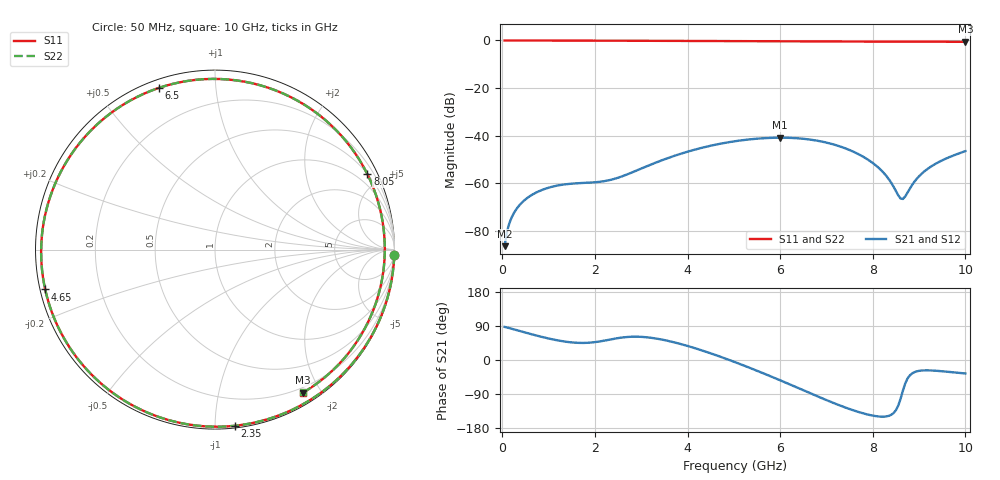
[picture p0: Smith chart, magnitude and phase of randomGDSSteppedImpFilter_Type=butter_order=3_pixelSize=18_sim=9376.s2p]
! freq	dB(S11)	phase(S11)	dB(S12)	phase(S12)
!  dB(S21)	phase(S21)	dB(S22)	phase(S22)
!S-par simulation data
#  GHz  S  DB  R 50
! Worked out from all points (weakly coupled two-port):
!   200 points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, 50 MHz to 10 GHz, reference 50 ohm
!   highest |S21| = -40.82 dB at 6 GHz (marker M1); lowest = -86.4 dB at 50 MHz (marker M2)
!   lowest |S11| = -0.6 dB at 10 GHz (marker M3), VSWR 29.97, Z = 6.98 - j89 ohm
!   |S11| at or under -10 dB: nowhere
!   |S22| runs from -0.6 to 0.0 dB; largest |S21 - S12| = 0
!   S11 on the Smith chart (normalised r, x): 50 MHz: 1, -62; 2.35 GHz: 0.01, -1.12; 4.65 GHz: 0.01, -0.12; 6.5 GHz: 0.04, +0.71; 8.05 GHz: 0.51, +4.21; 10 GHz: 0.14, -1.78
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0.05  -0.01 -1.8  -86.36 87.2  -86.36 87.2  -0.01 -1.8
0.1  -0.01 -3.7  -80.35 85.9  -80.35 85.9  -0.01 -3.7
0.2  -0.01 -7.3  -74.38 82.6  -74.38 82.6  -0.01 -7.3
0.35  -0.02 -12.7  -69.64 77.5  -69.64 77.5  -0.02 -12.7
0.65  -0.03 -23.5  -64.70 67.3  -64.70 67.3  -0.03 -23.5
1.1  -0.05 -39.6  -61.29 54.1  -61.29 54.1  -0.05 -39.6
1.75  -0.08 -62.6  -59.82 45.0  -59.82 45.0  -0.08 -62.6
2.35  -0.11 -83.5  -58.47 54.5  -58.47 54.5  -0.11 -83.5
3.4  -0.16 -120.4  -50.64 55.0  -50.64 55.0  -0.16 -120.3
4.65  -0.25 -166.8  -43.57 11.2  -43.57 11.2  -0.25 -166.8
5.05  -0.28 177.0  -42.23 -6.8  -42.23 -6.8  -0.28 177.0
5.55  -0.33 155.3  -41.16 -30.8  -41.16 -30.8  -0.33 155.4
6  -0.37 134.3  -40.82 -53.5  -40.82 -53.5  -0.37 134.4
6.5  -0.41 109.2  -41.27 -79.7  -41.27 -79.7  -0.41 109.4
6.7  -0.43 98.8  -41.76 -90.3  -41.76 -90.3  -0.43 98.9
7.35  -0.46 63.8  -44.88 -122.8  -44.88 -122.8  -0.46 64.0
8.05  -0.47 26.4  -52.19 -147.9  -52.19 -147.9  -0.47 26.6
8.35  -0.48 11.1  -58.35 -147.2  -58.35 -147.2  -0.47 11.3
8.65  -0.48 -3.3  -66.54 -81.1  -66.54 -81.1  -0.48 -3.2
8.9  -0.49 -14.8  -59.27 -32.1  -59.27 -32.1  -0.49 -14.6
9.15  -0.51 -25.7  -54.40 -27.3  -54.40 -27.3  -0.50 -25.5
10  -0.58 -58.4  -46.46 -35.6  -46.46 -35.6  -0.58 -58.3
